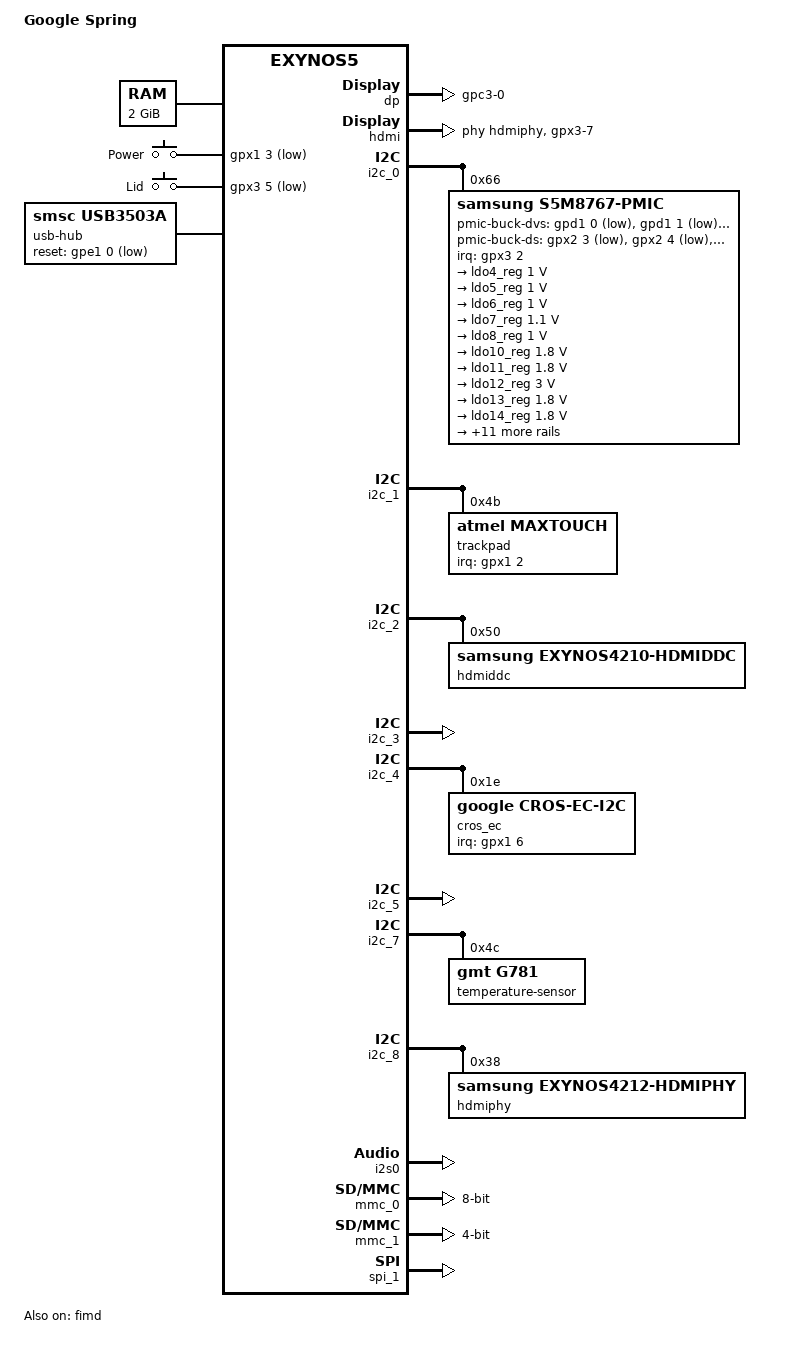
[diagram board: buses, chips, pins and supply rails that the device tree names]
/*
 * Google Spring board device tree source
 *
 * Copyright (c) 2013 Google, Inc
 * Copyright (c) 2014 SUSE LINUX Products GmbH
 *
 * This program is free software; you can redistribute it and/or modify
 * it under the terms of the GNU General Public License version 2 as
 * published by the Free Software Foundation.
 */

/dts-v1/;
#include <dt-bindings/gpio/gpio.h>
#include <dt-bindings/interrupt-controller/irq.h>
#include <dt-bindings/input/input.h>
#include "exynos5250.dtsi"

/ {
	model = "Google Spring";
	compatible = "google,spring", "samsung,exynos5250", "samsung,exynos5";

	memory {
		reg = <0x40000000 0x80000000>;
	};

	chosen {
		bootargs = "console=tty1";
	};

	gpio-keys {
		compatible = "gpio-keys";
		pinctrl-names = "default";
		pinctrl-0 = <&power_key_irq>, <&lid_irq>;

		power {
			label = "Power";
			gpios = <&gpx1 3 GPIO_ACTIVE_LOW>;
			linux,code = <KEY_POWER>;
			gpio-key,wakeup;
		};

		lid-switch {
			label = "Lid";
			gpios = <&gpx3 5 GPIO_ACTIVE_LOW>;
			linux,input-type = <5>; /* EV_SW */
			linux,code = <0>; /* SW_LID */
			debounce-interval = <1>;
			gpio-key,wakeup;
		};
	};

	usb-hub {
		compatible = "smsc,usb3503a";
		reset-gpios = <&gpe1 0 GPIO_ACTIVE_LOW>;
		pinctrl-names = "default";
		pinctrl-0 = <&hsic_reset>;
	};

	fixed-rate-clocks {
		xxti {
			compatible = "samsung,clock-xxti";
			clock-frequency = <24000000>;
		};
	};
};

&dp {
	status = "okay";
	pinctrl-names = "default";
	pinctrl-0 = <&dp_hpd_gpio>;
	samsung,color-space = <0>;
	samsung,dynamic-range = <0>;
	samsung,ycbcr-coeff = <0>;
	samsung,color-depth = <1>;
	samsung,link-rate = <0x0a>;
	samsung,lane-count = <1>;
	samsung,hpd-gpio = <&gpc3 0 GPIO_ACTIVE_HIGH>;
};

&ehci {
	samsung,vbus-gpio = <&gpx1 1 GPIO_ACTIVE_HIGH>;
};

&fimd {
	status = "okay";
	samsung,invert-vclk;
};

&hdmi {
	hpd-gpio = <&gpx3 7 GPIO_ACTIVE_HIGH>;
	pinctrl-names = "default";
	pinctrl-0 = <&hdmi_hpd_irq>;
	phy = <&hdmiphy>;
	ddc = <&i2c_2>;
	hdmi-en-supply = <&ldo8_reg>;
	vdd-supply = <&ldo8_reg>;
	vdd_osc-supply = <&ldo10_reg>;
	vdd_pll-supply = <&ldo8_reg>;
};

&i2c_0 {
	status = "okay";
	samsung,i2c-sda-delay = <100>;
	samsung,i2c-max-bus-freq = <378000>;

	s5m8767-pmic@66 {
		compatible = "samsung,s5m8767-pmic";
		reg = <0x66>;
		interrupt-parent = <&gpx3>;
		interrupts = <2 IRQ_TYPE_NONE>;
		pinctrl-names = "default";
		pinctrl-0 = <&s5m8767_irq &s5m8767_dvs &s5m8767_ds>;
		wakeup-source;

		s5m8767,pmic-buck-dvs-gpios = <&gpd1 0 GPIO_ACTIVE_LOW>, /* DVS1 */
		                              <&gpd1 1 GPIO_ACTIVE_LOW>, /* DVS2 */
		                              <&gpd1 2 GPIO_ACTIVE_LOW>; /* DVS3 */

		s5m8767,pmic-buck-ds-gpios = <&gpx2 3 GPIO_ACTIVE_LOW>, /* SET1 */
		                             <&gpx2 4 GPIO_ACTIVE_LOW>, /* SET2 */
		                             <&gpx2 5 GPIO_ACTIVE_LOW>; /* SET3 */

		/*
		 * The following arrays of DVS voltages are not used, since we are
		 * not using GPIOs to control PMIC bucks, but they must be defined
		 * to please the driver.
		 */
		s5m8767,pmic-buck2-dvs-voltage = <1350000>, <1300000>,
		                                 <1250000>, <1200000>,
		                                 <1150000>, <1100000>,
		                                 <1000000>, <950000>;

		s5m8767,pmic-buck3-dvs-voltage = <1100000>, <1100000>,
		                                 <1100000>, <1100000>,
		                                 <1000000>, <1000000>,
		                                 <1000000>, <1000000>;

		s5m8767,pmic-buck4-dvs-voltage = <1200000>, <1200000>,
		                                 <1200000>, <1200000>,
		                                 <1200000>, <1200000>,
		                                 <1200000>, <1200000>;

		clocks {
			compatible = "samsung,s5m8767-clk";
			#clock-cells = <1>;
			clock-output-names = "en32khz_ap",
			                     "en32khz_cp",
			                     "en32khz_bt";
		};

		regulators {
			ldo4_reg: LDO4 {
				regulator-name = "P1.0V_LDO_OUT4";
				regulator-min-microvolt = <1000000>;
				regulator-max-microvolt = <1000000>;
				regulator-always-on;
				op_mode = <0>;
			};

			ldo5_reg: LDO5 {
				regulator-name = "P1.0V_LDO_OUT5";
				regulator-min-microvolt = <1000000>;
				regulator-max-microvolt = <1000000>;
				regulator-always-on;
				op_mode = <0>;
			};

			ldo6_reg: LDO6 {
				regulator-name = "vdd_mydp";
				regulator-min-microvolt = <1000000>;
				regulator-max-microvolt = <1000000>;
				regulator-always-on;
				op_mode = <3>;
			};

			ldo7_reg: LDO7 {
				regulator-name = "P1.1V_LDO_OUT7";
				regulator-min-microvolt = <1100000>;
				regulator-max-microvolt = <1100000>;
				regulator-always-on;
				op_mode = <3>;
			};

			ldo8_reg: LDO8 {
				regulator-name = "P1.0V_LDO_OUT8";
				regulator-min-microvolt = <1000000>;
				regulator-max-microvolt = <1000000>;
				regulator-always-on;
				op_mode = <3>;
			};

			ldo10_reg: LDO10 {
				regulator-name = "P1.8V_LDO_OUT10";
				regulator-min-microvolt = <1800000>;
				regulator-max-microvolt = <1800000>;
				regulator-always-on;
				op_mode = <3>;
			};

			ldo11_reg: LDO11 {
				regulator-name = "P1.8V_LDO_OUT11";
				regulator-min-microvolt = <1800000>;
				regulator-max-microvolt = <1800000>;
				regulator-always-on;
				op_mode = <0>;
			};

			ldo12_reg: LDO12 {
				regulator-name = "P3.0V_LDO_OUT12";
				regulator-min-microvolt = <3000000>;
				regulator-max-microvolt = <3000000>;
				regulator-always-on;
				op_mode = <3>;
			};

			ldo13_reg: LDO13 {
				regulator-name = "P1.8V_LDO_OUT13";
				regulator-min-microvolt = <1800000>;
				regulator-max-microvolt = <1800000>;
				regulator-always-on;
				op_mode = <0>;
			};

			ldo14_reg: LDO14 {
				regulator-name = "P1.8V_LDO_OUT14";
				regulator-min-microvolt = <1800000>;
				regulator-max-microvolt = <1800000>;
				regulator-always-on;
				op_mode = <3>;
			};

			ldo15_reg: LDO15 {
				regulator-name = "P1.0V_LDO_OUT15";
				regulator-min-microvolt = <1000000>;
				regulator-max-microvolt = <1000000>;
				regulator-always-on;
				op_mode = <3>;
			};

			ldo16_reg: LDO16 {
				regulator-name = "P1.8V_LDO_OUT16";
				regulator-min-microvolt = <1800000>;
				regulator-max-microvolt = <1800000>;
				regulator-always-on;
				op_mode = <3>;
			};

			ldo17_reg: LDO17 {
				regulator-name = "P2.8V_LDO_OUT17";
				regulator-min-microvolt = <2800000>;
				regulator-max-microvolt = <2800000>;
				regulator-always-on;
				op_mode = <0>;
			};

			ldo25_reg: LDO25 {
				regulator-name = "vdd_bridge";
				regulator-min-microvolt = <1200000>;
				regulator-max-microvolt = <1200000>;
				regulator-always-on;
				op_mode = <1>;
			};

			buck1_reg: BUCK1 {
				regulator-name = "vdd_mif";
				regulator-min-microvolt = <950000>;
				regulator-max-microvolt = <1300000>;
				regulator-always-on;
				regulator-boot-on;
				op_mode = <3>;
			};

			buck2_reg: BUCK2 {
				regulator-name = "vdd_arm";
				regulator-min-microvolt = <850000>;
				regulator-max-microvolt = <1350000>;
				regulator-always-on;
				regulator-boot-on;
				op_mode = <3>;
			};

			buck3_reg: BUCK3 {
				regulator-name = "vdd_int";
				regulator-min-microvolt = <900000>;
				regulator-max-microvolt = <1200000>;
				regulator-always-on;
				regulator-boot-on;
				op_mode = <3>;
			};

			buck4_reg: BUCK4 {
				regulator-name = "vdd_g3d";
				regulator-min-microvolt = <850000>;
				regulator-max-microvolt = <1300000>;
				regulator-boot-on;
				op_mode = <3>;
			};

			buck5_reg: BUCK5 {
				regulator-name = "P1.8V_BUCK_OUT5";
				regulator-min-microvolt = <1800000>;
				regulator-max-microvolt = <1800000>;
				regulator-always-on;
				regulator-boot-on;
				op_mode = <1>;
			};

			buck6_reg: BUCK6 {
				regulator-name = "P1.2V_BUCK_OUT6";
				regulator-min-microvolt = <1200000>;
				regulator-max-microvolt = <1200000>;
				regulator-always-on;
				regulator-boot-on;
				op_mode = <0>;
			};

			buck9_reg: BUCK9 {
				regulator-name = "vdd_ummc";
				regulator-min-microvolt = <950000>;
				regulator-max-microvolt = <3000000>;
				regulator-always-on;
				regulator-boot-on;
				op_mode = <3>;
			};
		};
	};
};

&i2c_1 {
	status = "okay";
	samsung,i2c-sda-delay = <100>;
	samsung,i2c-max-bus-freq = <378000>;

	trackpad@4b {
		compatible = "atmel,maxtouch";
		reg = <0x4b>;
		interrupt-parent = <&gpx1>;
		interrupts = <2 IRQ_TYPE_EDGE_FALLING>;
		pinctrl-names = "default";
		pinctrl-0 = <&trackpad_irq>;
		linux,gpio-keymap = <KEY_RESERVED
				     KEY_RESERVED
				     KEY_RESERVED
				     KEY_RESERVED
				     KEY_RESERVED
				     BTN_LEFT>;
		wakeup-source;
	};
};

/*
 * Disabled pullups since external part has its own pullups and
 * double-pulling gets us out of spec in some cases.
 */
&i2c2_bus {
	samsung,pin-pud = <0>;
};

&i2c_2 {
	status = "okay";
	samsung,i2c-sda-delay = <100>;
	samsung,i2c-max-bus-freq = <66000>;

	hdmiddc@50 {
		compatible = "samsung,exynos4210-hdmiddc";
		reg = <0x50>;
	};
};

&i2c_3 {
	status = "okay";
	samsung,i2c-sda-delay = <100>;
	samsung,i2c-max-bus-freq = <66000>;
};

&i2c_4 {
	status = "okay";
	samsung,i2c-sda-delay = <100>;
	samsung,i2c-max-bus-freq = <66000>;

	cros_ec: embedded-controller {
		compatible = "google,cros-ec-i2c";
		reg = <0x1e>;
		interrupts = <6 IRQ_TYPE_NONE>;
		interrupt-parent = <&gpx1>;
		wakeup-source;
		pinctrl-names = "default";
		pinctrl-0 = <&ec_irq>;
	};
};

&i2c_5 {
	status = "okay";
	samsung,i2c-sda-delay = <100>;
	samsung,i2c-max-bus-freq = <66000>;
};

&i2c_7 {
	status = "okay";
	samsung,i2c-sda-delay = <100>;
	samsung,i2c-max-bus-freq = <66000>;

	temperature-sensor@4c {
		compatible = "gmt,g781";
		reg = <0x4c>;
	};
};

&i2c_8 {
	status = "okay";
	samsung,i2c-sda-delay = <100>;
	samsung,i2c-max-bus-freq = <378000>;

	hdmiphy: hdmiphy@38 {
		compatible = "samsung,exynos4212-hdmiphy";
		reg = <0x38>;
	};
};

&i2s0 {
	status = "okay";
};

&mfc {
	samsung,mfc-r = <0x43000000 0x800000>;
	samsung,mfc-l = <0x51000000 0x800000>;
};

&mmc_0 {
	status = "okay";
	num-slots = <1>;
	broken-cd;
	card-detect-delay = <200>;
	samsung,dw-mshc-ciu-div = <3>;
	samsung,dw-mshc-sdr-timing = <2 3>;
	samsung,dw-mshc-ddr-timing = <1 2>;
	pinctrl-names = "default";
	pinctrl-0 = <&sd0_clk &sd0_cmd &sd0_cd &sd0_bus4 &sd0_bus8>;
	bus-width = <8>;
	cap-mmc-highspeed;
};

/*
 * On Spring we've got SIP WiFi and so can keep drive strengths low to
 * reduce EMI.
 */
&mmc_1 {
	status = "okay";
	num-slots = <1>;
	broken-cd;
	card-detect-delay = <200>;
	samsung,dw-mshc-ciu-div = <3>;
	samsung,dw-mshc-sdr-timing = <2 3>;
	samsung,dw-mshc-ddr-timing = <1 2>;
	pinctrl-names = "default";
	pinctrl-0 = <&sd1_clk &sd1_cmd &sd1_cd &sd1_bus4>;
	bus-width = <4>;
	cap-sd-highspeed;
};

&pinctrl_0 {
	s5m8767_dvs: s5m8767-dvs {
		samsung,pins = "gpd1-0", "gpd1-1", "gpd1-2";
		samsung,pin-function = <0>;
		samsung,pin-pud = <1>;
		samsung,pin-drv = <0>;
	};

	dp_hpd_gpio: dp-hpd-gpio {
		samsung,pins = "gpc3-0";
		samsung,pin-function = <0>;
		samsung,pin-pud = <3>;
		samsung,pin-drv = <0>;
	};

	trackpad_irq: trackpad-irq {
		samsung,pins = "gpx1-2";
		samsung,pin-function = <0xf>;
		samsung,pin-pud = <0>;
		samsung,pin-drv = <0>;
	};

	power_key_irq: power-key-irq {
		samsung,pins = "gpx1-3";
		samsung,pin-function = <0xf>;
		samsung,pin-pud = <0>;
		samsung,pin-drv = <0>;
	};

	ec_irq: ec-irq {
		samsung,pins = "gpx1-6";
		samsung,pin-function = <0>;
		samsung,pin-pud = <0>;
		samsung,pin-drv = <0>;
	};

	s5m8767_ds: s5m8767-ds {
		samsung,pins = "gpx2-3", "gpx2-4", "gpx2-5";
		samsung,pin-function = <0>;
		samsung,pin-pud = <1>;
		samsung,pin-drv = <0>;
	};

	s5m8767_irq: s5m8767-irq {
		samsung,pins = "gpx3-2";
		samsung,pin-function = <0>;
		samsung,pin-pud = <0>;
		samsung,pin-drv = <0>;
	};

	lid_irq: lid-irq {
		samsung,pins = "gpx3-5";
		samsung,pin-function = <0xf>;
		samsung,pin-pud = <0>;
		samsung,pin-drv = <0>;
	};

	hdmi_hpd_irq: hdmi-hpd-irq {
		samsung,pins = "gpx3-7";
		samsung,pin-function = <0>;
		samsung,pin-pud = <1>;
		samsung,pin-drv = <0>;
	};
};

&pinctrl_1 {
	hsic_reset: hsic-reset {
		samsung,pins = "gpe1-0";
		samsung,pin-function = <1>;
		samsung,pin-pud = <0>;
		samsung,pin-drv = <0>;
	};
};

&sd1_bus4 {
	samsung,pin-drv = <0>;
};

&sd1_cd {
	samsung,pin-drv = <0>;
};

&sd1_clk {
	samsung,pin-drv = <0>;
};

&sd1_cmd {
	samsung,pin-pud = <3>;
	samsung,pin-drv = <0>;
};

&spi_1 {
	status = "okay";
	samsung,spi-src-clk = <0>;
	num-cs = <1>;
};

#include "cros-ec-keyboard.dtsi"
